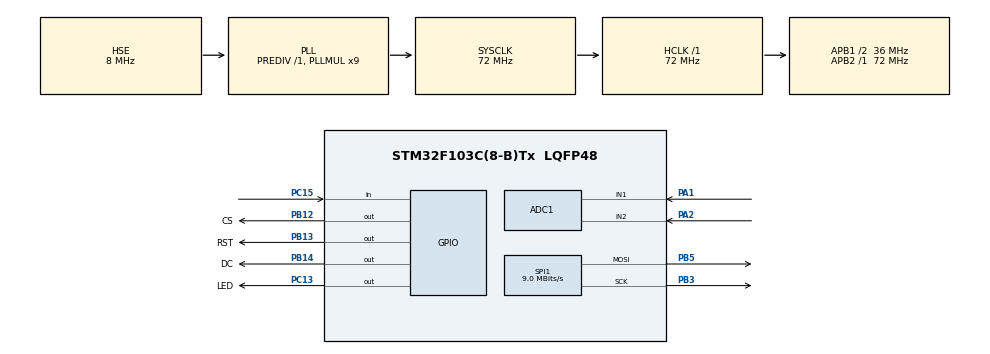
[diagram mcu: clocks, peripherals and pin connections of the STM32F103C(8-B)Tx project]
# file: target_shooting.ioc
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ADC1.Channel-5\#ChannelRegularConversion=ADC_CHANNEL_1
ADC1.Channel-6\#ChannelRegularConversion=ADC_CHANNEL_2
ADC1.ContinuousConvMode=ENABLE
ADC1.NbrOfConversion=2
ADC1.NbrOfConversionFlag=1
ADC1.Rank-5\#ChannelRegularConversion=1
ADC1.Rank-6\#ChannelRegularConversion=2
ADC1.SamplingTime-5\#ChannelRegularConversion=ADC_SAMPLETIME_239CYCLES_5
ADC1.SamplingTime-6\#ChannelRegularConversion=ADC_SAMPLETIME_239CYCLES_5
ADC1.master=1
Dma.ADC1.0.Direction=DMA_PERIPH_TO_MEMORY
Dma.ADC1.0.Instance=DMA1_Channel1
Dma.ADC1.0.MemDataAlignment=DMA_MDATAALIGN_WORD
Dma.ADC1.0.MemInc=DMA_MINC_ENABLE
Dma.ADC1.0.Mode=DMA_CIRCULAR
Dma.ADC1.0.PeriphDataAlignment=DMA_PDATAALIGN_WORD
Dma.ADC1.0.PeriphInc=DMA_PINC_DISABLE
Dma.ADC1.0.Priority=DMA_PRIORITY_LOW
Dma.Request0=ADC1
FREERTOS.MEMORY_ALLOCATION=2
FREERTOS.Tasks01=defaultTask,0,128,StartDefaultTask,Default,NULL,Static,defaultTaskBuffer,defaultTaskControlBlock
FREERTOS.configMAX_TASK_NAME_LEN=30
FREERTOS.configTOTAL_HEAP_SIZE=0x3000
FREERTOS.configUSE_NEWLIB_REENTRANT=1
Mcu.Family=STM32F1
Mcu.Name=STM32F103C(8-B)Tx
Mcu.Package=LQFP48
NVIC.ADC1_2_IRQn=true\:5\:0\:false\:false\:true\:true\:true\:true\:true
NVIC.DMA1_Channel1_IRQn=true\:5\:0\:false\:false\:true\:true\:false\:true\:true
NVIC.PriorityGroup=NVIC_PRIORITYGROUP_4
NVIC.TIM4_IRQn=true\:0\:0\:false\:false\:true\:false\:false\:true\:true
NVIC.TimeBase=TIM4_IRQn
NVIC.TimeBaseIP=TIM4
PA1.Signal=ADCx_IN1
PA13.Mode=Serial_Wire
PA13.Signal=SYS_JTMS-SWDIO
PA14.Mode=Serial_Wire
PA14.Signal=SYS_JTCK-SWCLK
PA2.Signal=ADCx_IN2
PB12.GPIO_Label=CS
PB12.Signal=GPIO_Output
PB13.GPIO_Label=RST
PB13.Signal=GPIO_Output
PB14.GPIO_Label=DC
PB14.Signal=GPIO_Output
PB3.Mode=TX_Only_Simplex_Unidirect_Master
PB3.Signal=SPI1_SCK
PB5.Mode=TX_Only_Simplex_Unidirect_Master
PB5.Signal=SPI1_MOSI
PC13-TAMPER-RTC.GPIO_Label=LED
PC13-TAMPER-RTC.Signal=GPIO_Output
PC15-OSC32_OUT.GPIO_PuPd=GPIO_PULLUP
PC15-OSC32_OUT.Signal=GPIO_Input
PD0-OSC_IN.Mode=HSE-External-Oscillator
PD0-OSC_IN.Signal=RCC_OSC_IN
PD1-OSC_OUT.Mode=HSE-External-Oscillator
PD1-OSC_OUT.Signal=RCC_OSC_OUT
ProjectManager.HeapSize=0x200
ProjectManager.StackSize=0x400
ProjectManager.TargetToolchain=STM32CubeIDE
RCC.ADCPresc=RCC_ADCPCLK2_DIV6
RCC.AHBFreq_Value=72000000
RCC.APB1CLKDivider=RCC_HCLK_DIV2
RCC.APB1Freq_Value=36000000
RCC.APB1TimFreq_Value=72000000
RCC.APB2Freq_Value=72000000
RCC.APB2TimFreq_Value=72000000
RCC.HCLKFreq_Value=72000000
RCC.PLLMUL=RCC_PLL_MUL9
RCC.PLLSourceVirtual=RCC_PLLSOURCE_HSE
RCC.SYSCLKFreq_VALUE=72000000
RCC.SYSCLKSource=RCC_SYSCLKSOURCE_PLLCLK
RCC.USBFreq_Value=72000000
SH.ADCx_IN1.0=ADC1_IN1,IN1
SH.ADCx_IN2.0=ADC1_IN2,IN2
SPI1.BaudRatePrescaler=SPI_BAUDRATEPRESCALER_8
SPI1.CalculateBaudRate=9.0 MBits/s
SPI1.Direction=SPI_DIRECTION_2LINES
SPI1.Mode=SPI_MODE_MASTER
SPI1.VirtualType=VM_MASTER
VP_FREERTOS_VS_CMSIS_V1.Mode=CMSIS_V1
VP_SYS_VS_tim4.Mode=TIM4
board=FreeRTOS_LC5110_Joystick

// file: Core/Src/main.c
/* USER CODE BEGIN Header */

/* USER CODE END Header */
#include "main.h"
#include "cmsis_os.h"

/* USER CODE BEGIN Includes */
#include <string.h>
#include <stdlib.h>
#include "stdio.h"
#include "atraso.h"
#include "defPrincipais.h"
#include "PRNG_LFSR.h"
#include "st7735.h"

/* USER CODE END Includes */

ADC_HandleTypeDef hadc1;
DMA_HandleTypeDef hdma_adc1;

SPI_HandleTypeDef hspi1;

osThreadId defaultTaskHandle;
uint32_t defaultTaskBuffer[ 128 ];
osStaticThreadDef_t defaultTaskControlBlock;
/* USER CODE BEGIN PV */

int ADC_buffer[2];
int valor_ADC[2];

/* USER CODE END PV */

void SystemClock_Config(void);
static void MX_GPIO_Init(void);
static void MX_DMA_Init(void);
static void MX_ADC1_Init(void);
static void MX_SPI1_Init(void);
void StartDefaultTask(void const * argument);

/* USER CODE BEGIN 0 */
void HAL_ADC_ConvCpltCallback(ADC_HandleTypeDef *hadc)
{
	if(hadc->Instance == ADC1)
	{
	    valor_ADC[0]=ADC_buffer[0];
		valor_ADC[1]=ADC_buffer[1];
	}
}
//---------------------------------------------------------------------------------------------------

//---------------------------------------------------------------------------------------------------
void vTask_Print_Menu_Gun_Shot(void *pvParameters)
{
	uint32_t i=0;
	while(1)
	{
		ST7735_FillRectangle(0, 90, 160, 19, ST7735_BLACK);
		ST7735_draw_figure(0, 90, fig_gun_shot_title[i], ST7735_WHITE);
		i++;
		if (i>4){i=0;}
		vTaskDelay(200);
	}
}

void vTask_Move_Soldado(void *pvParameters)
{
	// soldado comeca em (9,70)

	uint32_t x=9,y=70;
	uint32_t dif_eixoX,dif_eixoY;

	while(1)
	{
		ST7735_FillRectangle(x, y, 8, 8, ST7735_BLACK); // apaga soldado anterior

		dif_eixoX = valor_ADC[1];// media_eixoX;
		dif_eixoY = valor_ADC[0];//media_eixoY;

		if(dif_eixoX < 1800)   // aprox. 200 de segurança
		{
			if(x>0) x--;
		}
		else if(dif_eixoX > 3800) // 50 = Delta de tolerancia no deslocamento do eixo
		{
			if(x<150) x++;
		}
		// ------------------------------------------------------------------------
		if(dif_eixoY < 1800)
		{
			if(y>0) y--;

		}
		else if(dif_eixoY > 3800)
		{
			if(y<120) y++;
		}
		// ------------------------------------------------------------------------
		ST7735_draw_figure(x, y, soldado, ST7735_GREEN);

		vTaskDelay(20);
	}
}
//---------------------------------------------------------------------------------------------------
void vTask_Print_Soldado(void *pvParameters)
{
	while(1)
	{
		ST7735_draw_figure(9, 30, soldado, ST7735_BLUE);
		ST7735_draw_figure(9, 70, soldado, ST7735_GREEN);
		vTaskDelay(500);
	}
}
//---------------------------------------------------------------------------------------------------
void vTask_Print_ValorADC(void *pvParameters)
{
	while(1)
	{
		ST7735_WriteString(75, 50, "     ", Font_7x10, ST7735_GREEN, ST7735_BLACK);
		ST7735_write_nr(75, 50, valor_ADC[0], Font_7x10, ST7735_GREEN, ST7735_BLACK);

		ST7735_WriteString(75, 60, "     ", Font_7x10, ST7735_GREEN, ST7735_BLACK);
		ST7735_write_nr(75, 60, valor_ADC[1], Font_7x10, ST7735_GREEN, ST7735_BLACK);

		vTaskDelay(500);
	}
}
//---------------------------------------------------------------------------------------------------
/* USER CODE END 0 */

int main(void)
{

  /* USER CODE BEGIN 1 */
  uint32_t semente_PRNG=1;
  /* USER CODE END 1 */

  /* MCU Configuration--------------------------------------------------------*/

  /* Reset of all peripherals, Initializes the Flash interface and the Systick. */
  HAL_Init();

  /* Configure the system clock */
  SystemClock_Config();

  /* Initialize all configured peripherals */
  MX_GPIO_Init();
  MX_DMA_Init();
  MX_ADC1_Init();
  MX_SPI1_Init();
  /* USER CODE BEGIN 2 */

	  HAL_ADC_Start_DMA(&hadc1,(uint32_t*)ADC_buffer,2);
	  HAL_ADC_Start_IT(&hadc1);

		// inicializa LCD
	  ST7735_Init();
	  ST7735_Init();

	  ST7735_FillScreen(ST7735_BLACK);
	  ST7735_draw_figure(0, 40, fig_target_shooting, ST7735_WHITE);

	  ST7735_WriteString(42, 65,"Press Start!", Font_7x10, ST7735_RED, ST7735_BLACK);

	  // --------------------------------------------------------------------------------------
	  // inicializa nr. aleatorio e segue programção

/*	  while(HAL_GPIO_ReadPin(GPIOC, GPIO_PIN_15))// quando pressionar a tecla come�a o jogo
	  {
		  semente_PRNG++;
	  }
	  init_LFSR(semente_PRNG);	// inicializacao para geracao de numeros pseudoaleatorios
/*

	// -----------------------------------------

  /* USER CODE END 2 */

  /* Create the thread(s) */
  /* definition and creation of defaultTask */
  osThreadStaticDef(defaultTask, StartDefaultTask, osPriorityNormal, 0, 128, defaultTaskBuffer, &defaultTaskControlBlock);
  defaultTaskHandle = osThreadCreate(osThread(defaultTask), NULL);

  /* USER CODE BEGIN RTOS_THREADS */
  /* add threads, ... */

  xTaskCreate(vTask_Print_Menu_Gun_Shot, "Menu gun shot print", 256, NULL, osPriorityNormal, NULL);
//	xTaskCreate(vTask_Print_ValorADC, "ADC do Joystick", 256, NULL, osPriorityNormal, NULL);
//	xTaskCreate(vTask_Print_Soldado, "soldado", 256, NULL, osPriorityNormal, NULL);
//	xTaskCreate(vTask_Move_Soldado, "soldado_anda", 256, NULL, osPriorityAboveNormal, NULL);

  /* USER CODE END RTOS_THREADS */

  /* Start scheduler */
  osKernelStart();

  /* We should never get here as control is now taken by the scheduler */

  /* Infinite loop */
  while (1)
  {

  }
}

void SystemClock_Config(void)
{
  RCC_OscInitTypeDef RCC_OscInitStruct = {0};
  RCC_ClkInitTypeDef RCC_ClkInitStruct = {0};
  RCC_PeriphCLKInitTypeDef PeriphClkInit = {0};

  /** Initializes the RCC Oscillators according to the specified parameters
  * in the RCC_OscInitTypeDef structure.
  */
  RCC_OscInitStruct.OscillatorType = RCC_OSCILLATORTYPE_HSE;
  RCC_OscInitStruct.HSEState = RCC_HSE_ON;
  RCC_OscInitStruct.HSEPredivValue = RCC_HSE_PREDIV_DIV1;
  RCC_OscInitStruct.HSIState = RCC_HSI_ON;
  RCC_OscInitStruct.PLL.PLLState = RCC_PLL_ON;
  RCC_OscInitStruct.PLL.PLLSource = RCC_PLLSOURCE_HSE;
  RCC_OscInitStruct.PLL.PLLMUL = RCC_PLL_MUL9;
  if (HAL_RCC_OscConfig(&RCC_OscInitStruct) != HAL_OK)
  {
    Error_Handler();
  }

  /** Initializes the CPU, AHB and APB buses clocks
  */
  RCC_ClkInitStruct.ClockType = RCC_CLOCKTYPE_HCLK|RCC_CLOCKTYPE_SYSCLK
                              |RCC_CLOCKTYPE_PCLK1|RCC_CLOCKTYPE_PCLK2;
  RCC_ClkInitStruct.SYSCLKSource = RCC_SYSCLKSOURCE_PLLCLK;
  RCC_ClkInitStruct.AHBCLKDivider = RCC_SYSCLK_DIV1;
  RCC_ClkInitStruct.APB1CLKDivider = RCC_HCLK_DIV2;
  RCC_ClkInitStruct.APB2CLKDivider = RCC_HCLK_DIV1;

  if (HAL_RCC_ClockConfig(&RCC_ClkInitStruct, FLASH_LATENCY_2) != HAL_OK)
  {
    Error_Handler();
  }
  PeriphClkInit.PeriphClockSelection = RCC_PERIPHCLK_ADC;
  PeriphClkInit.AdcClockSelection = RCC_ADCPCLK2_DIV6;
  if (HAL_RCCEx_PeriphCLKConfig(&PeriphClkInit) != HAL_OK)
  {
    Error_Handler();
  }
}

static void MX_ADC1_Init(void)
{

  ADC_ChannelConfTypeDef sConfig = {0};

  /** Common config
  */
  hadc1.Instance = ADC1;
  hadc1.Init.ScanConvMode = ADC_SCAN_ENABLE;
  hadc1.Init.ContinuousConvMode = ENABLE;
  hadc1.Init.DiscontinuousConvMode = DISABLE;
  hadc1.Init.ExternalTrigConv = ADC_SOFTWARE_START;
  hadc1.Init.DataAlign = ADC_DATAALIGN_RIGHT;
  hadc1.Init.NbrOfConversion = 2;
  if (HAL_ADC_Init(&hadc1) != HAL_OK)
  {
    Error_Handler();
  }

  /** Configure Regular Channel
  */
  sConfig.Channel = ADC_CHANNEL_1;
  sConfig.Rank = ADC_REGULAR_RANK_1;
  sConfig.SamplingTime = ADC_SAMPLETIME_239CYCLES_5;
  if (HAL_ADC_ConfigChannel(&hadc1, &sConfig) != HAL_OK)
  {
    Error_Handler();
  }

  /** Configure Regular Channel
  */
  sConfig.Channel = ADC_CHANNEL_2;
  sConfig.Rank = ADC_REGULAR_RANK_2;
  if (HAL_ADC_ConfigChannel(&hadc1, &sConfig) != HAL_OK)
  {
    Error_Handler();
  }

}

static void MX_SPI1_Init(void)
{

  /* SPI1 parameter configuration*/
  hspi1.Instance = SPI1;
  hspi1.Init.Mode = SPI_MODE_MASTER;
  hspi1.Init.Direction = SPI_DIRECTION_2LINES;
  hspi1.Init.DataSize = SPI_DATASIZE_8BIT;
  hspi1.Init.CLKPolarity = SPI_POLARITY_LOW;
  hspi1.Init.CLKPhase = SPI_PHASE_1EDGE;
  hspi1.Init.NSS = SPI_NSS_SOFT;
  hspi1.Init.BaudRatePrescaler = SPI_BAUDRATEPRESCALER_8;
  hspi1.Init.FirstBit = SPI_FIRSTBIT_MSB;
  hspi1.Init.TIMode = SPI_TIMODE_DISABLE;
  hspi1.Init.CRCCalculation = SPI_CRCCALCULATION_DISABLE;
  hspi1.Init.CRCPolynomial = 10;
  if (HAL_SPI_Init(&hspi1) != HAL_OK)
  {
    Error_Handler();
  }

}

static void MX_DMA_Init(void)
{

  /* DMA controller clock enable */
  __HAL_RCC_DMA1_CLK_ENABLE();

  /* DMA interrupt init */
  /* DMA1_Channel1_IRQn interrupt configuration */
  HAL_NVIC_SetPriority(DMA1_Channel1_IRQn, 5, 0);
  HAL_NVIC_EnableIRQ(DMA1_Channel1_IRQn);

}

static void MX_GPIO_Init(void)
{
  GPIO_InitTypeDef GPIO_InitStruct = {0};

  /* GPIO Ports Clock Enable */
  __HAL_RCC_GPIOC_CLK_ENABLE();
  __HAL_RCC_GPIOD_CLK_ENABLE();
  __HAL_RCC_GPIOA_CLK_ENABLE();
  __HAL_RCC_GPIOB_CLK_ENABLE();

  /*Configure GPIO pin Output Level */
  HAL_GPIO_WritePin(LED_GPIO_Port, LED_Pin, GPIO_PIN_RESET);

  /*Configure GPIO pin Output Level */
  HAL_GPIO_WritePin(GPIOB, CS_Pin|RST_Pin|DC_Pin, GPIO_PIN_RESET);

  /*Configure GPIO pin : LED_Pin */
  GPIO_InitStruct.Pin = LED_Pin;
  GPIO_InitStruct.Mode = GPIO_MODE_OUTPUT_PP;
  GPIO_InitStruct.Pull = GPIO_NOPULL;
  GPIO_InitStruct.Speed = GPIO_SPEED_FREQ_LOW;
  HAL_GPIO_Init(LED_GPIO_Port, &GPIO_InitStruct);

  /*Configure GPIO pin : PC15 */
  GPIO_InitStruct.Pin = GPIO_PIN_15;
  GPIO_InitStruct.Mode = GPIO_MODE_INPUT;
  GPIO_InitStruct.Pull = GPIO_PULLUP;
  HAL_GPIO_Init(GPIOC, &GPIO_InitStruct);

  /*Configure GPIO pins : CS_Pin RST_Pin DC_Pin */
  GPIO_InitStruct.Pin = CS_Pin|RST_Pin|DC_Pin;
  GPIO_InitStruct.Mode = GPIO_MODE_OUTPUT_PP;
  GPIO_InitStruct.Pull = GPIO_NOPULL;
  GPIO_InitStruct.Speed = GPIO_SPEED_FREQ_LOW;
  HAL_GPIO_Init(GPIOB, &GPIO_InitStruct);

}

void StartDefaultTask(void const * argument)
{
  /* USER CODE BEGIN 5 */
  /* Infinite loop */
  while(1)
  {
	  HAL_GPIO_TogglePin(LED_GPIO_Port, LED_Pin);

	  osDelay(200);
  }
  /* USER CODE END 5 */
}

void HAL_TIM_PeriodElapsedCallback(TIM_HandleTypeDef *htim)
{
  if (htim->Instance == TIM4) {
    HAL_IncTick();
  }
}

void Error_Handler(void)
{
  __disable_irq();
  while (1)
  {
  }
}
